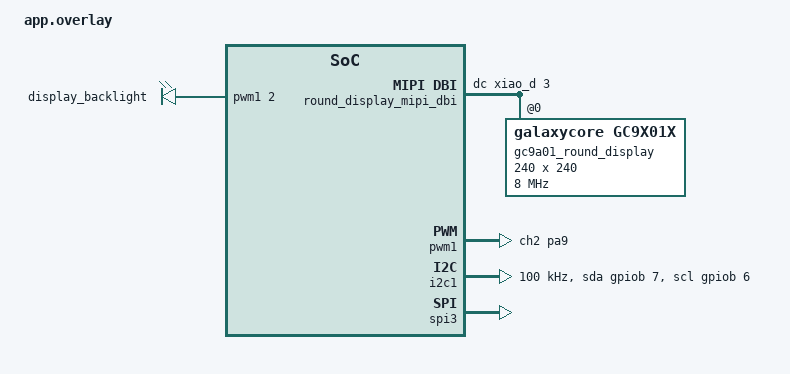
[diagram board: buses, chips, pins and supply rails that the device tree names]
#include <freq.h>
#include <zephyr/dt-bindings/display/panel.h>
#include <zephyr/dt-bindings/gpio/gpio.h>
#include <zephyr/dt-bindings/i2c/i2c.h>
#include <zephyr/dt-bindings/pwm/pwm.h>

/ {
	chosen {
		zephyr,display = &gc9a01_round_display;
	};

	backlight_pwm_leds {
		compatible = "pwm-leds";
		display_backlight: backlight {
			pwms = <&pwm1 2 PWM_MSEC(1) PWM_POLARITY_NORMAL>;
		};
	};

	round_display_mipi_dbi {
		compatible = "zephyr,mipi-dbi-spi";
		spi-dev = <&spi3>;
		dc-gpios = <&xiao_d 3 GPIO_ACTIVE_HIGH>;
		write-only;
		#address-cells = <1>;
		#size-cells = <0>;

		gc9a01_round_display: gc9a01@0 {
			compatible = "galaxycore,gc9x01x";
			reg = <0>;
			status = "okay";
			mipi-max-frequency = <DT_FREQ_M(8)>;
			pixel-format = <PANEL_PIXEL_FORMAT_RGB_565>;
			width = <240>;
			height = <240>;
			display-inversion;
		};
	};
};

&usart1 {
	/* Release D6/PA9 for the display backlight. */
	status = "disabled";
};

&pwm1 {
	/* D6/PA9 is TIM1_CH2 and drives the Round Display backlight. */
	pinctrl-0 = <&tim1_ch2_pa9>;
};

&i2c1 {
	/* Round Display touch: D4/PB7 SDA, D5/PB6 SCL. */
	clock-frequency = <I2C_BITRATE_STANDARD>;
	scl-gpios = <&gpiob 6 (GPIO_OPEN_DRAIN | GPIO_PULL_UP)>;
	sda-gpios = <&gpiob 7 (GPIO_OPEN_DRAIN | GPIO_PULL_UP)>;
	status = "okay";
};

&spi3 {
	/* Round Display LCD: D8/PE2 SCK, D10/PB15 MOSI, D1 CS. */
	status = "okay";
	cs-gpios = <&xiao_d 1 GPIO_ACTIVE_LOW>;
};
